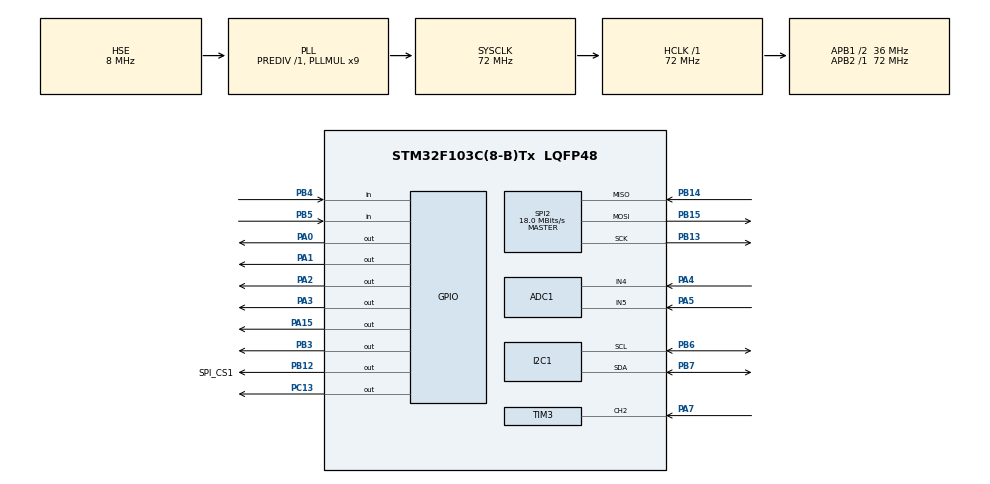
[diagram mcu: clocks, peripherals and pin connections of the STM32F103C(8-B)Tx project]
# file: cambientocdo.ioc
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ADC1.Channel-2\#ChannelRegularConversion=ADC_CHANNEL_4
ADC1.Channel-3\#ChannelRegularConversion=ADC_CHANNEL_5
ADC1.ContinuousConvMode=ENABLE
ADC1.EnableAnalogWatchDog=true
ADC1.NbrOfConversion=2
ADC1.NbrOfConversionFlag=1
ADC1.Rank-2\#ChannelRegularConversion=1
ADC1.Rank-3\#ChannelRegularConversion=2
ADC1.SamplingTime-2\#ChannelRegularConversion=ADC_SAMPLETIME_239CYCLES_5
ADC1.SamplingTime-3\#ChannelRegularConversion=ADC_SAMPLETIME_7CYCLES_5
ADC1.WatchdogChannel=ADC_CHANNEL_4
ADC1.master=1
Dma.ADC1.0.Direction=DMA_PERIPH_TO_MEMORY
Dma.ADC1.0.Instance=DMA1_Channel1
Dma.ADC1.0.MemDataAlignment=DMA_MDATAALIGN_HALFWORD
Dma.ADC1.0.MemInc=DMA_MINC_ENABLE
Dma.ADC1.0.Mode=DMA_CIRCULAR
Dma.ADC1.0.PeriphDataAlignment=DMA_PDATAALIGN_HALFWORD
Dma.ADC1.0.PeriphInc=DMA_PINC_DISABLE
Dma.ADC1.0.Priority=DMA_PRIORITY_LOW
Dma.Request0=ADC1
Mcu.Family=STM32F1
Mcu.Name=STM32F103C(8-B)Tx
Mcu.Package=LQFP48
NVIC.DMA1_Channel1_IRQn=true\:3\:0\:true\:false\:true\:false\:true\:true
NVIC.PriorityGroup=NVIC_PRIORITYGROUP_4
NVIC.TIM3_IRQn=true\:0\:0\:false\:false\:true\:true\:true\:true
PA0-WKUP.Signal=GPIO_Output
PA1.Signal=GPIO_Output
PA13.Mode=Serial_Wire
PA13.Signal=SYS_JTMS-SWDIO
PA14.Mode=Serial_Wire
PA14.Signal=SYS_JTCK-SWCLK
PA15.Signal=GPIO_Output
PA2.Signal=GPIO_Output
PA3.Signal=GPIO_Output
PA4.Signal=ADCx_IN4
PA5.Signal=ADCx_IN5
PA7.GPIO_PuPd=GPIO_PULLUP
PA7.Signal=S_TIM3_CH2
PB12.GPIO_Label=SPI_CS1
PB12.GPIO_PuPd=GPIO_PULLUP
PB12.PinState=GPIO_PIN_SET
PB12.Signal=GPIO_Output
PB13.Mode=Full_Duplex_Master
PB13.Signal=SPI2_SCK
PB14.Mode=Full_Duplex_Master
PB14.Signal=SPI2_MISO
PB15.Mode=Full_Duplex_Master
PB15.Signal=SPI2_MOSI
PB3.Signal=GPIO_Output
PB4.GPIO_PuPd=GPIO_PULLDOWN
PB4.Signal=GPIO_Input
PB5.GPIO_PuPd=GPIO_PULLDOWN
PB5.Signal=GPIO_Input
PB6.Mode=I2C
PB6.Signal=I2C1_SCL
PB7.Mode=I2C
PB7.Signal=I2C1_SDA
PC13-TAMPER-RTC.Signal=GPIO_Output
PD0-OSC_IN.Mode=HSE-External-Oscillator
PD0-OSC_IN.Signal=RCC_OSC_IN
PD1-OSC_OUT.Mode=HSE-External-Oscillator
PD1-OSC_OUT.Signal=RCC_OSC_OUT
ProjectManager.HeapSize=0x200
ProjectManager.StackSize=0x400
ProjectManager.TargetToolchain=MDK-ARM V5.32
RCC.ADCPresc=RCC_ADCPCLK2_DIV6
RCC.AHBFreq_Value=72000000
RCC.APB1CLKDivider=RCC_HCLK_DIV2
RCC.APB1Freq_Value=36000000
RCC.APB1TimFreq_Value=72000000
RCC.APB2Freq_Value=72000000
RCC.APB2TimFreq_Value=72000000
RCC.HCLKFreq_Value=72000000
RCC.PLLMUL=RCC_PLL_MUL9
RCC.PLLSourceVirtual=RCC_PLLSOURCE_HSE
RCC.SYSCLKFreq_VALUE=72000000
RCC.SYSCLKSource=RCC_SYSCLKSOURCE_PLLCLK
RCC.USBFreq_Value=72000000
SH.ADCx_IN4.0=ADC1_IN4,IN4
SH.ADCx_IN5.0=ADC1_IN5,IN5
SH.S_TIM3_CH2.0=TIM3_CH2,Input_Capture2_from_TI2
SPI2.CalculateBaudRate=18.0 MBits/s
SPI2.Direction=SPI_DIRECTION_2LINES
SPI2.Mode=SPI_MODE_MASTER
SPI2.VirtualType=VM_MASTER
TIM3.AutoReloadPreload=TIM_AUTORELOAD_PRELOAD_ENABLE
TIM3.Channel-Input_Capture2_from_TI2=TIM_CHANNEL_2
TIM3.ClockDivision=TIM_CLOCKDIVISION_DIV1
TIM3.Period=255
TIM3.Prescaler=4607
board=custom

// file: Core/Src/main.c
/* USER CODE BEGIN Header */
/**
  ******************************************************************************
  * @file           : main.c
  * @brief          : Main program body
  ******************************************************************************
  * @attention
  *
  * Copyright (c) 2025 STMicroelectronics.
  * All rights reserved.
  *
  * This software is licensed under terms that can be found in the LICENSE file
  * in the root directory of this software component.
  * If no LICENSE file comes with this software, it is provided AS-IS.
  *
  ******************************************************************************
  */
#define Len1   0
#define Len2   1
#define Len3   2
#define Len4   3
#define Len5   4
#define Len6   5

/* USER CODE END Header */
#include "main.h"

/* USER CODE BEGIN Includes */
#include "kalman.h"
#include "CLCD_I2C.h"
#include <stdio.h>
/* USER CODE END Includes */

/* USER CODE BEGIN PTD */
volatile uint32_t T1 = 0;
volatile uint32_t T2 = 0;
volatile uint32_t T3 = 0;
volatile uint32_t T4 = 0;
volatile uint32_t T5 = 0;
volatile uint32_t T6 = 0;
volatile uint32_t OverNgat = 0;
volatile uint32_t State = 0,state_xe =1;
volatile uint32_t T3_T1 = 0;
volatile double F = 0,T = 0;
volatile double tocdo = 0,vantocxe = 0;
volatile uint32_t  luuadc = 1100,tayga = 0,tinhieului = 0;

/* USER CODE END PTD */

ADC_HandleTypeDef hadc1;
DMA_HandleTypeDef hdma_adc1;

I2C_HandleTypeDef hi2c1;

SPI_HandleTypeDef hspi2;

TIM_HandleTypeDef htim3;

/* USER CODE BEGIN PV */
CLCD_I2C_Name LCD1;
/* USER CODE END PV */

void SystemClock_Config(void);
static void MX_GPIO_Init(void);
static void MX_DMA_Init(void);
static void MX_TIM3_Init(void);
static void MX_ADC1_Init(void);
static void MX_SPI2_Init(void);
static void MX_I2C1_Init(void);

/* USER CODE BEGIN 0 */
uint8_t txData0 =0;
uint8_t txData1= 1;
uint8_t txData2= 2;
uint8_t txData4 =4;
uint8_t txData5 =5;
uint8_t txDatalui =7;
uint8_t txDataphanh = 6;
uint32_t adc_sensortayga;

void CLCD_I2C_WriteIntFixed(CLCD_I2C_Name* LCD, uint8_t x, uint8_t y, int value, uint8_t width) {
    char buffer[10];
    sprintf(buffer, "%*d", width, value); // width = s? ký t? c? d?nh, can ph?i
    CLCD_I2C_SetCursor(LCD, x, y);
    CLCD_I2C_WriteString(LCD, buffer);
}

/* USER CODE END 0 */

int main(void)
{

  /* MCU Configuration--------------------------------------------------------*/

  /* Reset of all peripherals, Initializes the Flash interface and the Systick. */
  HAL_Init();

  /* Configure the system clock */
  SystemClock_Config();

  /* Initialize all configured peripherals */
  MX_GPIO_Init();
  MX_DMA_Init();
  MX_TIM3_Init();
  MX_ADC1_Init();
  MX_SPI2_Init();
  MX_I2C1_Init();
  /* USER CODE BEGIN 2 */
  HAL_TIM_Base_Start_IT(&htim3);
  HAL_TIM_IC_Start_IT(&htim3, TIM_CHANNEL_2);
	SimpleKalmanFilter(2,2,0.001f);
	CLCD_I2C_Init(&LCD1,&hi2c1,0x4e,20,4);

  /* USER CODE END 2 */

  /* Infinite loop */
  /* USER CODE BEGIN WHILE */
  while (1)
  {		// phanh
	HAL_GPIO_WritePin(GPIOB, GPIO_PIN_3, GPIO_PIN_SET);
	while (HAL_GPIO_ReadPin(GPIOB, GPIO_PIN_4)== GPIO_PIN_SET){

    HAL_GPIO_WritePin(GPIOB, GPIO_PIN_12, GPIO_PIN_RESET);
   HAL_SPI_Transmit(&hspi2, &txDataphanh, 1, 10);
    HAL_GPIO_WritePin(GPIOB, GPIO_PIN_12, GPIO_PIN_SET);
    HAL_Delay(200);
			if (T3_T1 ==0)
		{
			tocdo = 0;
		vantocxe= 0;}
		else if (T3_T1 !=0)
			{
  F = 1/(0.000064*(T3_T1));
		tocdo = F*60;
		vantocxe = (tocdo*297)/62500;
				}
}
		HAL_GPIO_WritePin(GPIOB, GPIO_PIN_3, GPIO_PIN_RESET);

tinhieului = HAL_GPIO_ReadPin(GPIOB,GPIO_PIN_5);
if ( tocdo ==0 && tinhieului == 1)
	{ state_xe = 0;}
else state_xe =1;
if (state_xe ==1)
	{
		//  cam bien toc do
	if (T3_T1 ==0)
		{
			tocdo = 0;
		vantocxe= 0;}
		else if (T3_T1 !=0)
			{
  F = 1/(0.000064*(T3_T1));
		tocdo = F*60;
		vantocxe = (tocdo*297)/62500;
				}
		if(tocdo < 605 && tocdo>5)//20HZ
			{ luuadc = 1100;
				HAL_GPIO_WritePin(GPIOA,GPIO_PIN_1, GPIO_PIN_SET);
				HAL_GPIO_WritePin(GPIOA,GPIO_PIN_2, GPIO_PIN_RESET);
				HAL_GPIO_WritePin(GPIOA,GPIO_PIN_3, GPIO_PIN_RESET);
				HAL_GPIO_WritePin(GPIOA,GPIO_PIN_0, GPIO_PIN_RESET);
		}
		else if ( tocdo > 605 && tocdo < 760)//25HZ
	{luuadc = 1700;
		HAL_GPIO_WritePin(GPIOA,GPIO_PIN_1, GPIO_PIN_RESET);
		HAL_GPIO_WritePin(GPIOA,GPIO_PIN_2, GPIO_PIN_SET);
		HAL_GPIO_WritePin(GPIOA,GPIO_PIN_3, GPIO_PIN_RESET);
		HAL_GPIO_WritePin(GPIOA,GPIO_PIN_0, GPIO_PIN_RESET);
			}
		else if ( tocdo > 760 && tocdo < 1280)//40HZ
	{luuadc = 2300;
		HAL_GPIO_WritePin(GPIOA,GPIO_PIN_1, GPIO_PIN_SET);
		HAL_GPIO_WritePin(GPIOA,GPIO_PIN_2, GPIO_PIN_RESET);
		HAL_GPIO_WritePin(GPIOA,GPIO_PIN_3, GPIO_PIN_RESET);
		HAL_GPIO_WritePin(GPIOA,GPIO_PIN_0, GPIO_PIN_RESET);
			}
	else if ( tocdo > 1280)//50hz
	{luuadc = 2800;
		HAL_GPIO_WritePin(GPIOA,GPIO_PIN_1, GPIO_PIN_SET);
		HAL_GPIO_WritePin(GPIOA,GPIO_PIN_2, GPIO_PIN_RESET);
		HAL_GPIO_WritePin(GPIOA,GPIO_PIN_3, GPIO_PIN_RESET);
		HAL_GPIO_WritePin(GPIOA,GPIO_PIN_0, GPIO_PIN_RESET);
			}
	 if(OverNgat > 200)
			{T3_T1=0;
				luuadc = 1100;
			HAL_GPIO_WritePin(GPIOA, GPIO_PIN_0, GPIO_PIN_SET);
				HAL_GPIO_WritePin(GPIOA,GPIO_PIN_2, GPIO_PIN_RESET);
				HAL_GPIO_WritePin(GPIOA,GPIO_PIN_3, GPIO_PIN_RESET);
				HAL_GPIO_WritePin(GPIOA,GPIO_PIN_1, GPIO_PIN_RESET);
			State = Len1;
		}
			else { HAL_GPIO_WritePin(GPIOA, GPIO_PIN_0, GPIO_PIN_RESET);
			}
	HAL_ADC_Start_DMA(&hadc1,&adc_sensortayga, 1);

		if (luuadc > adc_sensortayga) // chay 0
			{
		HAL_GPIO_WritePin(GPIOB, GPIO_PIN_12,GPIO_PIN_RESET);
		HAL_SPI_Transmit(&hspi2, &txData0, 1,10);
		HAL_GPIO_WritePin(GPIOB, GPIO_PIN_12,GPIO_PIN_SET);
		HAL_Delay(200);
			}
  	 else if( adc_sensortayga > 1100 && adc_sensortayga <1700){// chay 20

		 HAL_GPIO_WritePin(GPIOB, GPIO_PIN_12,GPIO_PIN_RESET);
	HAL_SPI_Transmit(&hspi2, &txData1, 1,10);
		HAL_GPIO_WritePin(GPIOB, GPIO_PIN_12,GPIO_PIN_SET);
	HAL_Delay(200);
	 	}

		else if (adc_sensortayga >= 1700&& adc_sensortayga<2300){ // chay 25
	 HAL_GPIO_WritePin(GPIOB, GPIO_PIN_12,GPIO_PIN_RESET);
	HAL_SPI_Transmit(&hspi2, &txData2, 1,10);
		HAL_GPIO_WritePin(GPIOB, GPIO_PIN_12,GPIO_PIN_SET);
	HAL_Delay(200);
 		}
		else if (adc_sensortayga >= 2300&& adc_sensortayga<2800){ // chay 40
		 HAL_GPIO_WritePin(GPIOB, GPIO_PIN_12,GPIO_PIN_RESET);
	HAL_SPI_Transmit(&hspi2, &txData4, 1,10);
		HAL_GPIO_WritePin(GPIOB, GPIO_PIN_12,GPIO_PIN_SET);
	HAL_Delay(200);
		}
		else if (adc_sensortayga >= 2800){ // chay 50
		 HAL_GPIO_WritePin(GPIOB, GPIO_PIN_12,GPIO_PIN_RESET);
	HAL_SPI_Transmit(&hspi2, &txData5, 1,10);
		HAL_GPIO_WritePin(GPIOB, GPIO_PIN_12,GPIO_PIN_SET);
	HAL_Delay(200);
		}}
		else if( state_xe ==0)
			{
				if (T3_T1 ==0)
		{
			tocdo = 0;
		vantocxe= 0;}
		else if (T3_T1 !=0)
			{
  F = 1/(0.000064*(T3_T1));
		tocdo = F*60;
		vantocxe = (tocdo*297)/62500;	}
			HAL_ADC_Start_DMA(&hadc1,&adc_sensortayga, 1);
				if (adc_sensortayga > 1100)
					{
		HAL_GPIO_WritePin(GPIOB, GPIO_PIN_12,GPIO_PIN_RESET);
	HAL_SPI_Transmit(&hspi2, &txDatalui, 1,10);
		HAL_GPIO_WritePin(GPIOB, GPIO_PIN_12,GPIO_PIN_SET);
	HAL_Delay(200);
					}
					else {
		HAL_GPIO_WritePin(GPIOB, GPIO_PIN_12,GPIO_PIN_RESET);
		HAL_SPI_Transmit(&hspi2, &txData0, 1,10);
		HAL_GPIO_WritePin(GPIOB, GPIO_PIN_12,GPIO_PIN_SET);
		HAL_Delay(200);}
						}

		CLCD_I2C_SetCursor(&LCD1, 0, 0);
		CLCD_I2C_WriteString(&LCD1, "ga");
CLCD_I2C_WriteIntFixed(&LCD1, 4, 0, adc_sensortayga, 4);  // Ghi s? t?i v? trí c?t 3

// Hi?n th? RPM (4 ký t? s?)
CLCD_I2C_SetCursor(&LCD1, 0, 1);  // dòng th? 2, c?t 0
CLCD_I2C_WriteString(&LCD1, "RPM");
CLCD_I2C_WriteIntFixed(&LCD1, 4, 1, tocdo, 4);  // Ghi t?i c?t 4, t?i da 4 ch? s?

// Hi?n th? T3 (2 ký t? s?)
CLCD_I2C_SetCursor(&LCD1, 10, 0);  // Ghi t?i c?t 9 (sau RPM và 1 d?u cách)
CLCD_I2C_WriteString(&LCD1, "VANTOC");
CLCD_I2C_WriteIntFixed(&LCD1, 11, 1,vantocxe , 5);  // Ghi t?i c?t 12, t?i da 3 ch? s?

    /* USER CODE END WHILE */

    /* USER CODE BEGIN 3 */
  }
}

void HAL_TIM_IC_CaptureCallback(TIM_HandleTypeDef* htim3)
{
		if(State == Len1)
	{
		T1 = TIM3->CCR2;
		OverNgat = 0;
		State = Len2;

	}
	else if(State == Len2)
	{
		T2 = TIM3->CCR2;

		State = Len3;

	}
	else if(State == Len3)
	{
		T3 = TIM3->CCR2;

		T3_T1 = (T3 + (OverNgat* 256)) - T1;
		State = Len1;
		T1=0;
		T2=0;
		T3=0;

		}

	}

void HAL_TIM_PeriodElapsedCallback(TIM_HandleTypeDef* htim3)
{
	OverNgat++;

  /* USER CODE END 3 */
}

void SystemClock_Config(void)
{
  RCC_OscInitTypeDef RCC_OscInitStruct = {0};
  RCC_ClkInitTypeDef RCC_ClkInitStruct = {0};
  RCC_PeriphCLKInitTypeDef PeriphClkInit = {0};

  /** Initializes the RCC Oscillators according to the specified parameters
  * in the RCC_OscInitTypeDef structure.
  */
  RCC_OscInitStruct.OscillatorType = RCC_OSCILLATORTYPE_HSE;
  RCC_OscInitStruct.HSEState = RCC_HSE_ON;
  RCC_OscInitStruct.HSEPredivValue = RCC_HSE_PREDIV_DIV1;
  RCC_OscInitStruct.HSIState = RCC_HSI_ON;
  RCC_OscInitStruct.PLL.PLLState = RCC_PLL_ON;
  RCC_OscInitStruct.PLL.PLLSource = RCC_PLLSOURCE_HSE;
  RCC_OscInitStruct.PLL.PLLMUL = RCC_PLL_MUL9;
  if (HAL_RCC_OscConfig(&RCC_OscInitStruct) != HAL_OK)
  {
    Error_Handler();
  }

  /** Initializes the CPU, AHB and APB buses clocks
  */
  RCC_ClkInitStruct.ClockType = RCC_CLOCKTYPE_HCLK|RCC_CLOCKTYPE_SYSCLK
                              |RCC_CLOCKTYPE_PCLK1|RCC_CLOCKTYPE_PCLK2;
  RCC_ClkInitStruct.SYSCLKSource = RCC_SYSCLKSOURCE_PLLCLK;
  RCC_ClkInitStruct.AHBCLKDivider = RCC_SYSCLK_DIV1;
  RCC_ClkInitStruct.APB1CLKDivider = RCC_HCLK_DIV2;
  RCC_ClkInitStruct.APB2CLKDivider = RCC_HCLK_DIV1;

  if (HAL_RCC_ClockConfig(&RCC_ClkInitStruct, FLASH_LATENCY_2) != HAL_OK)
  {
    Error_Handler();
  }
  PeriphClkInit.PeriphClockSelection = RCC_PERIPHCLK_ADC;
  PeriphClkInit.AdcClockSelection = RCC_ADCPCLK2_DIV6;
  if (HAL_RCCEx_PeriphCLKConfig(&PeriphClkInit) != HAL_OK)
  {
    Error_Handler();
  }
}

static void MX_ADC1_Init(void)
{

  ADC_AnalogWDGConfTypeDef AnalogWDGConfig = {0};
  ADC_ChannelConfTypeDef sConfig = {0};

  /** Common config
  */
  hadc1.Instance = ADC1;
  hadc1.Init.ScanConvMode = ADC_SCAN_ENABLE;
  hadc1.Init.ContinuousConvMode = ENABLE;
  hadc1.Init.DiscontinuousConvMode = DISABLE;
  hadc1.Init.ExternalTrigConv = ADC_SOFTWARE_START;
  hadc1.Init.DataAlign = ADC_DATAALIGN_RIGHT;
  hadc1.Init.NbrOfConversion = 2;
  if (HAL_ADC_Init(&hadc1) != HAL_OK)
  {
    Error_Handler();
  }

  /** Configure Analog WatchDog 1
  */
  AnalogWDGConfig.WatchdogMode = ADC_ANALOGWATCHDOG_SINGLE_REG;
  AnalogWDGConfig.HighThreshold = 0;
  AnalogWDGConfig.LowThreshold = 0;
  AnalogWDGConfig.Channel = ADC_CHANNEL_4;
  AnalogWDGConfig.ITMode = DISABLE;
  if (HAL_ADC_AnalogWDGConfig(&hadc1, &AnalogWDGConfig) != HAL_OK)
  {
    Error_Handler();
  }

  /** Configure Regular Channel
  */
  sConfig.Channel = ADC_CHANNEL_4;
  sConfig.Rank = ADC_REGULAR_RANK_1;
  sConfig.SamplingTime = ADC_SAMPLETIME_239CYCLES_5;
  if (HAL_ADC_ConfigChannel(&hadc1, &sConfig) != HAL_OK)
  {
    Error_Handler();
  }

  /** Configure Regular Channel
  */
  sConfig.Channel = ADC_CHANNEL_5;
  sConfig.Rank = ADC_REGULAR_RANK_2;
  sConfig.SamplingTime = ADC_SAMPLETIME_7CYCLES_5;
  if (HAL_ADC_ConfigChannel(&hadc1, &sConfig) != HAL_OK)
  {
    Error_Handler();
  }

}

static void MX_I2C1_Init(void)
{

  hi2c1.Instance = I2C1;
  hi2c1.Init.ClockSpeed = 100000;
  hi2c1.Init.DutyCycle = I2C_DUTYCYCLE_2;
  hi2c1.Init.OwnAddress1 = 0;
  hi2c1.Init.AddressingMode = I2C_ADDRESSINGMODE_7BIT;
  hi2c1.Init.DualAddressMode = I2C_DUALADDRESS_DISABLE;
  hi2c1.Init.OwnAddress2 = 0;
  hi2c1.Init.GeneralCallMode = I2C_GENERALCALL_DISABLE;
  hi2c1.Init.NoStretchMode = I2C_NOSTRETCH_DISABLE;
  if (HAL_I2C_Init(&hi2c1) != HAL_OK)
  {
    Error_Handler();
  }

}

static void MX_SPI2_Init(void)
{

  /* SPI2 parameter configuration*/
  hspi2.Instance = SPI2;
  hspi2.Init.Mode = SPI_MODE_MASTER;
  hspi2.Init.Direction = SPI_DIRECTION_2LINES;
  hspi2.Init.DataSize = SPI_DATASIZE_8BIT;
  hspi2.Init.CLKPolarity = SPI_POLARITY_LOW;
  hspi2.Init.CLKPhase = SPI_PHASE_1EDGE;
  hspi2.Init.NSS = SPI_NSS_SOFT;
  hspi2.Init.BaudRatePrescaler = SPI_BAUDRATEPRESCALER_2;
  hspi2.Init.FirstBit = SPI_FIRSTBIT_MSB;
  hspi2.Init.TIMode = SPI_TIMODE_DISABLE;
  hspi2.Init.CRCCalculation = SPI_CRCCALCULATION_DISABLE;
  hspi2.Init.CRCPolynomial = 10;
  if (HAL_SPI_Init(&hspi2) != HAL_OK)
  {
    Error_Handler();
  }

}

static void MX_TIM3_Init(void)
{

  TIM_MasterConfigTypeDef sMasterConfig = {0};
  TIM_IC_InitTypeDef sConfigIC = {0};

  htim3.Instance = TIM3;
  htim3.Init.Prescaler = 4607;
  htim3.Init.CounterMode = TIM_COUNTERMODE_UP;
  htim3.Init.Period = 255;
  htim3.Init.ClockDivision = TIM_CLOCKDIVISION_DIV1;
  htim3.Init.AutoReloadPreload = TIM_AUTORELOAD_PRELOAD_ENABLE;
  if (HAL_TIM_IC_Init(&htim3) != HAL_OK)
  {
    Error_Handler();
  }
  sMasterConfig.MasterOutputTrigger = TIM_TRGO_RESET;
  sMasterConfig.MasterSlaveMode = TIM_MASTERSLAVEMODE_DISABLE;
  if (HAL_TIMEx_MasterConfigSynchronization(&htim3, &sMasterConfig) != HAL_OK)
  {
    Error_Handler();
  }
  sConfigIC.ICPolarity = TIM_INPUTCHANNELPOLARITY_RISING;
  sConfigIC.ICSelection = TIM_ICSELECTION_DIRECTTI;
  sConfigIC.ICPrescaler = TIM_ICPSC_DIV1;
  sConfigIC.ICFilter = 0;
  if (HAL_TIM_IC_ConfigChannel(&htim3, &sConfigIC, TIM_CHANNEL_2) != HAL_OK)
  {
    Error_Handler();
  }

}

static void MX_DMA_Init(void)
{

  /* DMA controller clock enable */
  __HAL_RCC_DMA1_CLK_ENABLE();

  /* DMA interrupt init */
  /* DMA1_Channel1_IRQn interrupt configuration */
  HAL_NVIC_SetPriority(DMA1_Channel1_IRQn, 3, 0);
  HAL_NVIC_EnableIRQ(DMA1_Channel1_IRQn);

}

static void MX_GPIO_Init(void)
{
  GPIO_InitTypeDef GPIO_InitStruct = {0};

  /* GPIO Ports Clock Enable */
  __HAL_RCC_GPIOC_CLK_ENABLE();
  __HAL_RCC_GPIOD_CLK_ENABLE();
  __HAL_RCC_GPIOA_CLK_ENABLE();
  __HAL_RCC_GPIOB_CLK_ENABLE();

  /*Configure GPIO pin Output Level */
  HAL_GPIO_WritePin(GPIOC, GPIO_PIN_13, GPIO_PIN_RESET);

  /*Configure GPIO pin Output Level */
  HAL_GPIO_WritePin(GPIOA, GPIO_PIN_0|GPIO_PIN_1|GPIO_PIN_2|GPIO_PIN_3
                          |GPIO_PIN_15, GPIO_PIN_RESET);

  /*Configure GPIO pin Output Level */
  HAL_GPIO_WritePin(SPI_CS1_GPIO_Port, SPI_CS1_Pin, GPIO_PIN_SET);

  /*Configure GPIO pin Output Level */
  HAL_GPIO_WritePin(GPIOB, GPIO_PIN_3, GPIO_PIN_RESET);

  /*Configure GPIO pin : PC13 */
  GPIO_InitStruct.Pin = GPIO_PIN_13;
  GPIO_InitStruct.Mode = GPIO_MODE_OUTPUT_PP;
  GPIO_InitStruct.Pull = GPIO_NOPULL;
  GPIO_InitStruct.Speed = GPIO_SPEED_FREQ_LOW;
  HAL_GPIO_Init(GPIOC, &GPIO_InitStruct);

  /*Configure GPIO pins : PA0 PA1 PA2 PA3
                           PA15 */
  GPIO_InitStruct.Pin = GPIO_PIN_0|GPIO_PIN_1|GPIO_PIN_2|GPIO_PIN_3
                          |GPIO_PIN_15;
  GPIO_InitStruct.Mode = GPIO_MODE_OUTPUT_PP;
  GPIO_InitStruct.Pull = GPIO_NOPULL;
  GPIO_InitStruct.Speed = GPIO_SPEED_FREQ_LOW;
  HAL_GPIO_Init(GPIOA, &GPIO_InitStruct);

  /*Configure GPIO pin : SPI_CS1_Pin */
  GPIO_InitStruct.Pin = SPI_CS1_Pin;
  GPIO_InitStruct.Mode = GPIO_MODE_OUTPUT_PP;
  GPIO_InitStruct.Pull = GPIO_PULLUP;
  GPIO_InitStruct.Speed = GPIO_SPEED_FREQ_LOW;
  HAL_GPIO_Init(SPI_CS1_GPIO_Port, &GPIO_InitStruct);

  /*Configure GPIO pin : PB3 */
  GPIO_InitStruct.Pin = GPIO_PIN_3;
  GPIO_InitStruct.Mode = GPIO_MODE_OUTPUT_PP;
  GPIO_InitStruct.Pull = GPIO_NOPULL;
  GPIO_InitStruct.Speed = GPIO_SPEED_FREQ_LOW;
  HAL_GPIO_Init(GPIOB, &GPIO_InitStruct);

  /*Configure GPIO pins : PB4 PB5 */
  GPIO_InitStruct.Pin = GPIO_PIN_4|GPIO_PIN_5;
  GPIO_InitStruct.Mode = GPIO_MODE_INPUT;
  GPIO_InitStruct.Pull = GPIO_PULLDOWN;
  HAL_GPIO_Init(GPIOB, &GPIO_InitStruct);

}

void Error_Handler(void)
{
  __disable_irq();
  while (1)
  {
  }
}
